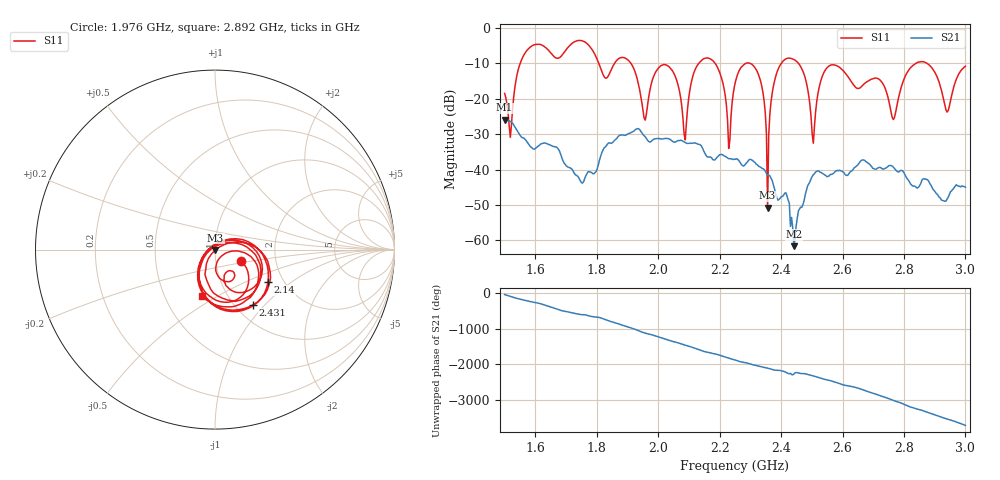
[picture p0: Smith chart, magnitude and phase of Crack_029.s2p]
# HZ S RI R 50
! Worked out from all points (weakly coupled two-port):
!   404 points, 1.5 GHz to 3 GHz, reference 50 ohm
!   highest |S21| = -25.89 dB at 1.5 GHz (marker M1); lowest = -61.6 dB at 2.442 GHz (marker M2)
!   lowest |S11| = -50.8 dB at 2.356 GHz (marker M3), VSWR 1.01, Z = 50.2 - j0.217 ohm
!   |S11| at or under -10 dB: 1.911 GHz to 2.132 GHz (220.7 MHz wide, 10.9 % of centre); 2.457 GHz to 2.838 GHz (381.6 MHz wide, 14.4 % of centre); 2.875 GHz to end of sweep (the widest 3 of 7)
!   S12 and S22 are empty: the file has one direction only
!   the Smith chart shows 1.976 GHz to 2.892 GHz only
!   S11 on the Smith chart (normalised r, x): 1.976 GHz: 1.32, -0.17; 2.14 GHz: 1.67, -0.68; 2.431 GHz: 1.20, -0.86; 2.892 GHz: 0.76, -0.43
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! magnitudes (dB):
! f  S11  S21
! 1.5 GHz  -18.5  -25.9
! 1.753 GHz  -3.6  -43.8
! 1.906 GHz  -9.4  -29.7
! 1.954 GHz  -25.4  -30.4
! 1.976 GHz  -16.2  -32.1
! 2.002 GHz  -11.1  -31.2
! 2.088 GHz  -31.6  -32.4
! 2.14 GHz  -9.2  -33.3
! 2.196 GHz  -11.7  -36.2
! 2.23 GHz  -34.0  -36.9
! 2.252 GHz  -15.0  -37.1
! 2.319 GHz  -11.7  -38.5
! 2.356 GHz  -50.8  -41.5
! 2.382 GHz  -13.8  -46.8
! 2.431 GHz  -8.5  -56.0
! 2.442 GHz  -8.9  -61.6
! 2.501 GHz  -29.9  -41.9
! 2.561 GHz  -10.5  -41.4
! 2.751 GHz  -20.5  -38.9
! 2.892 GHz  -11.4  -45.1
! 2.94 GHz  -23.7  -48.4
! 3 GHz  -10.8  -45.0
